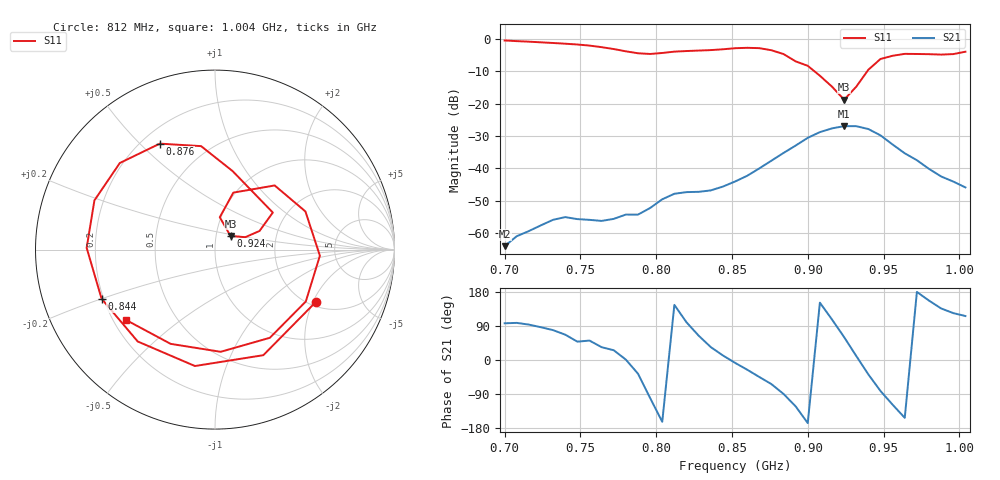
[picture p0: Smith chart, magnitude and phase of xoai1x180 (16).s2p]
# Hz S RI R 50
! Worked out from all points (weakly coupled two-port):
!   39 points, 700 MHz to 1.004 GHz, reference 50 ohm
!   highest |S21| = -26.96 dB at 924 MHz (marker M1); lowest = -64.0 dB at 700 MHz (marker M2)
!   lowest |S11| = -18.8 dB at 924 MHz (marker M3), VSWR 1.26, Z = 58.7 + j8.98 ohm
!   |S11| at or under -10 dB: 904.3 MHz to 939.3 MHz (34.97 MHz wide, 3.79 % of centre)
!   S12 and S22 are empty: the file has one direction only
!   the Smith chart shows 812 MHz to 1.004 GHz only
!   S11 on the Smith chart (normalised r, x): 812 MHz: 2.18, -2.11; 844 MHz: 0.19, -0.20; 876 MHz: 0.27, +0.57; 924 MHz: 1.17, +0.18; 1.004 GHz: 0.25, -0.33
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7e8  0.7631 0.5526  -7.54e-05 0.000627  0 0  0 0
7.24e8  0.8463 -0.2453  8.26e-05 0.00132  0 0  0 0
7.4e8  0.4593 -0.7025  0.000698 0.00163  0 0  0 0
7.56e8  -0.1936 -0.7608  0.00101 0.00126  0 0  0 0
7.72e8  -0.6649 -0.2008  0.0015 0.000724  0 0  0 0
7.8e8  -0.5987 0.2276  0.00194 3.24e-05  0 0  0 0
7.88e8  -0.246 0.5449  0.00157 -0.00114  0 0  0 0
7.96e8  0.2474 0.5278  -0.000438 -0.00241  0 0  0 0
8.04e8  0.5792 0.1712  -0.0032 -0.00097  0 0  0 0
8.12e8  0.5633 -0.2902  -0.00335 0.0023  0 0  0 0
8.28e8  -0.1117 -0.6486  0.00189 0.00392  0 0  0 0
8.44e8  -0.632 -0.2737  0.00513 0.0011  0 0  0 0
8.52e8  -0.7151 0.00989  0.00622 -0.000812  0 0  0 0
8.76e8  -0.3076 0.5903  0.00585 -0.0118  0 0  0 0
9e8  0.3221 0.2065  -0.0288 -0.00695  0 0  0 0
9.08e8  0.2482 0.1038  -0.0318 0.0174  0 0  0 0
9.24e8  0.0866 0.0754  0.0222 0.039  0 0  0 0
9.4e8  0.1022 0.3174  0.0319 -0.025  0 0  0 0
9.56e8  0.5039 0.2125  -0.011 -0.0206  0 0  0 0
9.64e8  0.5844 -0.0341  -0.0152 -0.00787  0 0  0 0
9.8e8  0.3059 -0.4912  -0.00903 0.00389  0 0  0 0
1.004e9  -0.4954 -0.3921  -0.00223 0.00458  0 0  0 0
